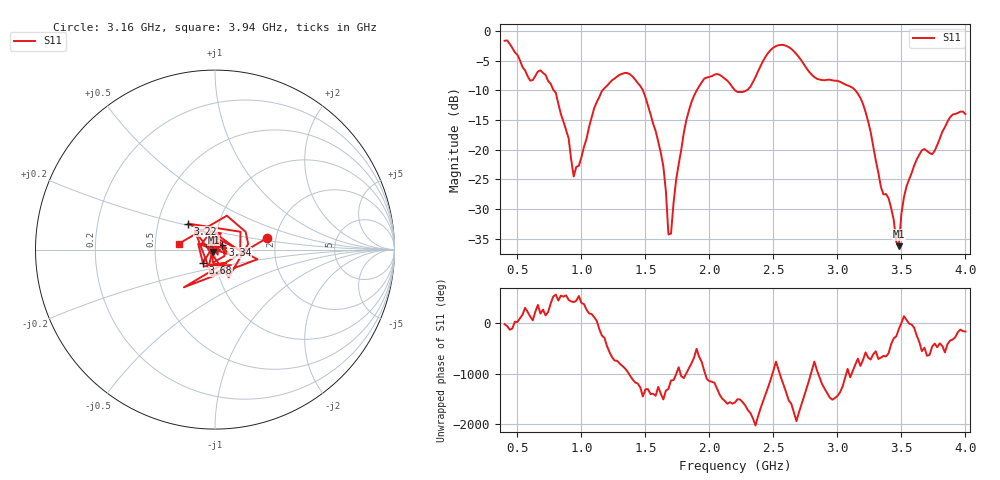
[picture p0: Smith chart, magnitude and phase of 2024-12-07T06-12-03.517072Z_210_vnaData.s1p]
!Created with skrf (http://scikit-rf.org).
# Hz S RI R 50.0
!freq ReS11 ImS11
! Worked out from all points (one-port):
!   181 points, 400 MHz to 4 GHz, reference 50 ohm
!   lowest |S11| = -36.2 dB at 3.48 GHz (marker M1), VSWR 1.03, Z = 49.2 - j1.27 ohm
!   |S11| at or under -10 dB: 784.4 MHz to 1.165 GHz (380.5 MHz wide, 39 % of centre); 1.481 GHz to 1.902 GHz (421 MHz wide, 24.9 % of centre); 3.14 GHz to end of sweep (the widest 3 of 4)
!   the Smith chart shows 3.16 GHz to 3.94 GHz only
!   S11 on the Smith chart (normalised r, x): 3.16 GHz: 1.79, +0.25; 3.22 GHz: 0.71, +0.22; 3.34 GHz: 1.08, +0.06; 3.68 GHz: 0.86, -0.13; 3.94 GHz: 0.66, +0.05
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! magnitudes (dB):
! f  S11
! 400 MHz  -1.7
! 600 MHz  -8.4
! 720 MHz  -7.4
! 860 MHz  -15.3
! 940 MHz  -24.5
! 1.12 GHz  -12.0
! 1.3 GHz  -7.4
! 1.5 GHz  -11.1
! 1.64 GHz  -22.8
! 1.68 GHz  -34.3
! 1.7 GHz  -34.1
! 1.76 GHz  -22.4
! 1.84 GHz  -13.4
! 1.96 GHz  -8.0
! 2.2 GHz  -10.0
! 2.5 GHz  -2.8
! 2.66 GHz  -3.4
! 3.1 GHz  -9.4
! 3.16 GHz  -10.6
! 3.22 GHz  -13.6
! 3.34 GHz  -26.3
! 3.4 GHz  -28.2
! 3.48 GHz  -36.2
! 3.5 GHz  -30.8
! 3.56 GHz  -25.0
! 3.68 GHz  -19.9
! 3.94 GHz  -13.8
! 4 GHz  -14.0
